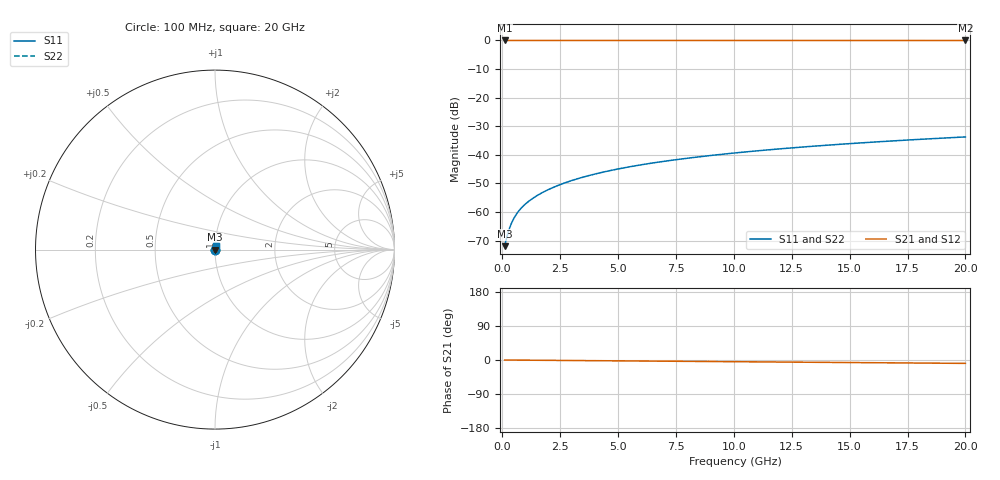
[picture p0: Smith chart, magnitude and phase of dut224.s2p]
! Touchstone file exported from HFSS 2026.1.0
!  File:  C:/ffzhzh/LocalFiles/Ansys_Project_Files/temp_train_TSV_224_1782992250_41620.aedt
!  Generated:  07:38:56 PM Jul  2, 2026
!  Design:  TSV
!  Project:  temp_train_TSV_224_1782992250_41620
! Variables:
!  h_bsmrdl = 2um
!  h_ox = 20um
!  h_rdl = 5um
!  h_sub = 90.95um
!  h_tmrdl = 5um
!  h_tsv = 90.95um
!  h_via = 3um
!  l_bsmrdl = 300um
!  l_sub = 415.98um
!  l_tmrdl = 200um
!  m_sub = 200um
!  pitch = 38.24um
!  r_tsv = 7.99um
!  s_tmrdl = 10um
!  w_bsmrdl = 18um
!  w_sub = 500um
!  w_tmrdl = 12um
!  x_tsv_center1 = 206um
!  x_tsv_center2 = 524um
!  x_tsv_center3 = 736um
!  x_tsv_center4 = 1054um
!  x_tsv_center5 = 1266um
!  x_tsv_center6 = 1584um
# GHz S MA R 50.000000
! Terminal data exported
! Port[1] = TSV1_1_T1
! Port[2] = TSV1_1_T2
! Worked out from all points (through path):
!   200 points, 100 MHz to 20 GHz, reference 50 ohm
!   highest |S21| = 0.00 dB at 100 MHz (marker M1); lowest = 0.0 dB at 20 GHz (marker M2)
!   group delay of S21, straight-line fit = 1.24 ps
!   lowest |S11| = -72.0 dB at 100 MHz (marker M3), VSWR 1.00, Z = 50 + j0.0153 ohm
!   |S11| at or under -10 dB: start of sweep to end of sweep
!   |S22| runs from -72.0 to -33.7 dB; largest |S21 - S12| = 5.4e-15
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0.1  0.0002525 37.2  0.9998 -0.0  0.9998 -0.0  0.0002525 37.2
! Gamma 0 0 0 0
! Port Impedance 50 0 50 0
0.2  0.0003705 54.7  0.9998 -0.1  0.9998 -0.1  0.0003705 54.7
0.3  0.0005048 62.4  0.9998 -0.1  0.9998 -0.1  0.0005048 62.4
0.4  0.000641 66.3  0.9997 -0.2  0.9997 -0.2  0.000641 66.3
0.5  0.0007742 68.4  0.9997 -0.2  0.9997 -0.2  0.0007742 68.4
0.6  0.0009032 69.8  0.9997 -0.3  0.9997 -0.3  0.0009032 69.8
0.7  0.001028 70.7  0.9997 -0.3  0.9997 -0.3  0.001028 70.7
0.8  0.001149 71.4  0.9996 -0.4  0.9996 -0.4  0.001149 71.4
1  0.001381 72.5  0.9996 -0.5  0.9996 -0.5  0.001381 72.5
1.4  0.001825 74.3  0.9995 -0.6  0.9995 -0.6  0.001825 74.3
1.7  0.002151 75.3  0.9995 -0.8  0.9995 -0.8  0.002151 75.3
2  0.002475 76.2  0.9994 -0.9  0.9994 -0.9  0.002475 76.2
2.7  0.003228 77.6  0.9994 -1.2  0.9994 -1.2  0.003228 77.6
3.5  0.004083 78.5  0.9993 -1.6  0.9993 -1.6  0.004083 78.5
4.2  0.004822 78.9  0.9992 -1.9  0.9992 -1.9  0.004822 78.9
5  0.005659 79.1  0.9991 -2.3  0.9991 -2.3  0.005659 79.1
6.8  0.007509 79.3  0.999 -3.1  0.999 -3.1  0.007509 79.3
8.3  0.009028 79.3  0.9989 -3.7  0.9989 -3.7  0.009028 79.3
10.1  0.01083 79.1  0.9987 -4.5  0.9987 -4.5  0.01083 79.1
13.4  0.01411 78.4  0.9985 -6.0  0.9985 -6.0  0.01411 78.4
16.7  0.01736 77.4  0.9983 -7.5  0.9983 -7.5  0.01736 77.4
20  0.02055 76.3  0.9981 -8.9  0.9981 -8.9  0.02055 76.3
